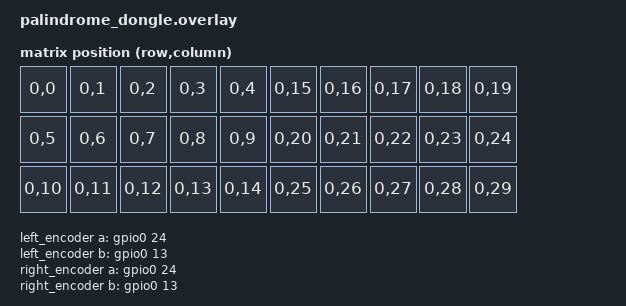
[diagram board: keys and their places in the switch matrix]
#include <dt-bindings/zmk/matrix_transform.h>
#include "palindrome-layout.dtsi"

/{
    esb_split {
        compatible = "zmk,esb-split";
        // These are arbitrary default addresses. In end user products
        // different addresses should be used for each set of devices.
        base-addr-0 = <0xE7 0xE7 0xE7 0xE7>;
        base-addr-1 = <0xC2 0xC2 0xC2 0xC2>;
        addr-prefix = <0xE7 0xC2 0xC3 0xC4 0xC5 0xC6 0xC7 0xC8>;
    };
};

/ {
    cool_layout: cool_layout {
        compatible = "zmk,physical-layout";
        display-name = "Default Layout";
        transform = <&cool_transform>;
    };
};

/ {
    chosen {
        zmk,kscan = &mock_kscan;
        zmk,physical-layout = &cool_layout;
    };

    mock_kscan: mock_kscan_0 {
        compatible = "zmk,kscan-mock";
        columns = <0>;
        rows = <0>;
        events = <0>;
    };

    cool_transform: cool_transform {
        compatible = "zmk,matrix-transform";
        columns = <30>;
        rows = <1>;
        map = <
            RC(0,0)  RC(0,1)  RC(0,2)  RC(0,3)  RC(0,4)  RC(0, 15) RC(0, 16) RC(0, 17) RC(0, 18) RC(0, 19)
            RC(0,5)  RC(0,6)  RC(0,7)  RC(0,8)  RC(0,9)  RC(0, 20) RC(0, 21) RC(0, 22) RC(0, 23) RC(0, 24)
            RC(0,10) RC(0,11) RC(0,12) RC(0,13) RC(0,14) RC(0, 25) RC(0, 26) RC(0, 27) RC(0, 28) RC(0, 29)
            >;
    };

    left_encoder: encoder_left {
        compatible = "alps,ec11";
        a-gpios = <&gpio0 24 (GPIO_ACTIVE_HIGH | GPIO_PULL_UP)>;
        b-gpios = <&gpio0 13 (GPIO_ACTIVE_HIGH | GPIO_PULL_UP)>;
        steps = <80>;
        status = "disabled";
    };

    right_encoder: encoder_right {
        compatible = "alps,ec11";
        a-gpios = <&gpio0 24 (GPIO_ACTIVE_HIGH | GPIO_PULL_UP)>;
        b-gpios = <&gpio0 13 (GPIO_ACTIVE_HIGH | GPIO_PULL_UP)>;
        steps = <80>;
        status = "disabled";
    };

    sensors: sensors {
        compatible = "zmk,keymap-sensors";
        sensors = <&left_encoder &right_encoder>;
        triggers-per-rotation = <20>;
    };

};
